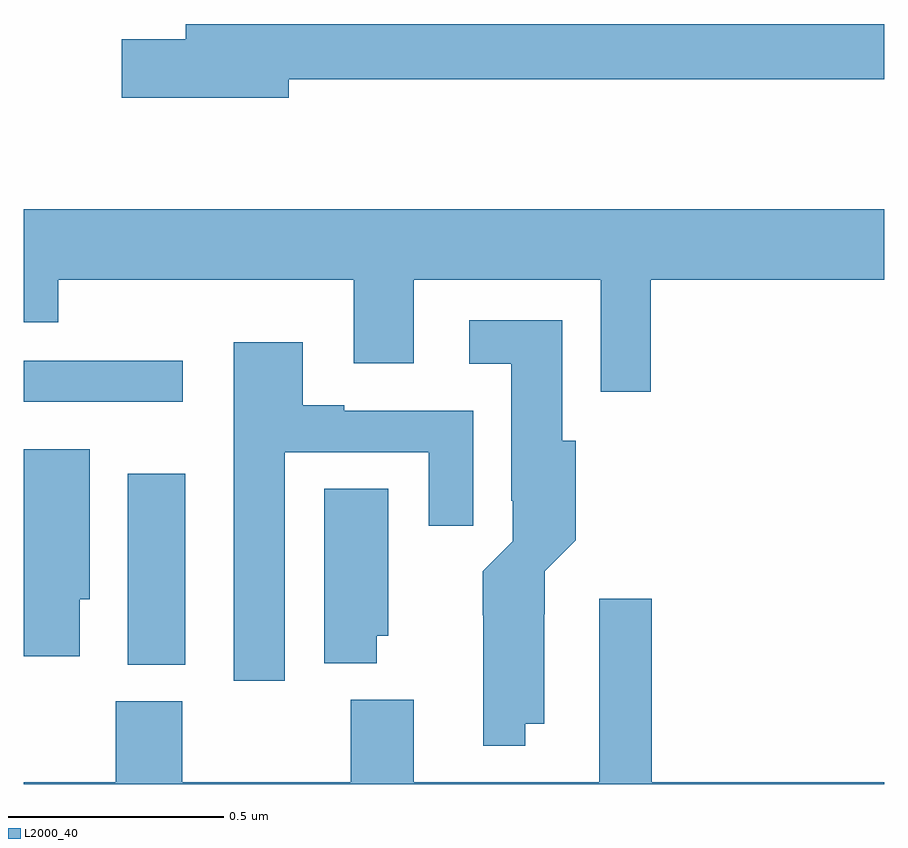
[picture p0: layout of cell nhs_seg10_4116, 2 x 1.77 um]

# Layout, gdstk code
import gdstk
lib = gdstk.Library(unit=1e-6, precision=1e-09)
def R(c, l, rs):  # rectangles x0, y0, x1, y1
    for r in rs: c.add(gdstk.rectangle(r[:2], r[2:], *l))
def P(c, l, *ps):  # polygons
    for p in ps: c.add(gdstk.Polygon(p, *l))
L2000_40 = (2000, 40)

nhs_seg10_4116 = lib.new_cell('nhs_seg10_4116')
R(nhs_seg10_4116, L2000_40, [(162.242,1276.777,162.376,1277.221), (162,1277.388,162.37,1277.484)])
P(nhs_seg10_4116, L2000_40, [(162.616,1278.138),(164,1278.138),(164,1278.266),(162.377,1278.266),(162.377,1278.23),(162.228,1278.23),(162.228,1278.095),(162.616,1278.095)],
  [(163.457,1277.672),(164,1277.672),(164,1277.836),(162,1277.836),(162,1277.573),(162.08,1277.573),(162.08,1277.672),(162.767,1277.672),(162.767,1277.478),(162.907,1277.478),(162.907,1277.672),(163.341,1277.672),(163.341,1277.412),(163.457,1277.412)],
  [(163.165,1276.64),(163.21,1276.64),(163.21,1276.895),(163.211,1276.895),(163.211,1276.994),(163.283,1277.066),(163.283,1277.298),(163.252,1277.298),(163.252,1277.578),(163.035,1277.578),(163.035,1277.477),(163.133,1277.477),(163.133,1277.158),(163.137,1277.158),(163.137,1277.064),(163.067,1276.994),(163.067,1276.892),(163.068,1276.892),(163.068,1276.589),(163.165,1276.589)],
  [(162.607,1277.271),(162.941,1277.271),(162.941,1277.1),(163.045,1277.1),(163.045,1277.367),(162.745,1277.367),(162.745,1277.38),(162.649,1277.38),(162.649,1277.527),(162.488,1277.527),(162.488,1276.74),(162.607,1276.74)],
  [(162.13,1276.929),(162.154,1276.929),(162.154,1277.278),(162,1277.278),(162,1276.797),(162.13,1276.797)],
  [(162.82,1276.845),(162.847,1276.845),(162.847,1277.186),(162.698,1277.186),(162.698,1276.781),(162.82,1276.781)],
  [(164,1276.504),(163.46,1276.504),(163.46,1276.93),(163.337,1276.93),(163.337,1276.504),(162.907,1276.504),(162.907,1276.696),(162.76,1276.696),(162.76,1276.504),(162.369,1276.504),(162.369,1276.692),(162.214,1276.692),(162.214,1276.504),(162,1276.504),(162,1276.5),(164,1276.5)])

lib.write_gds('nhs_seg10_4116.gds')
